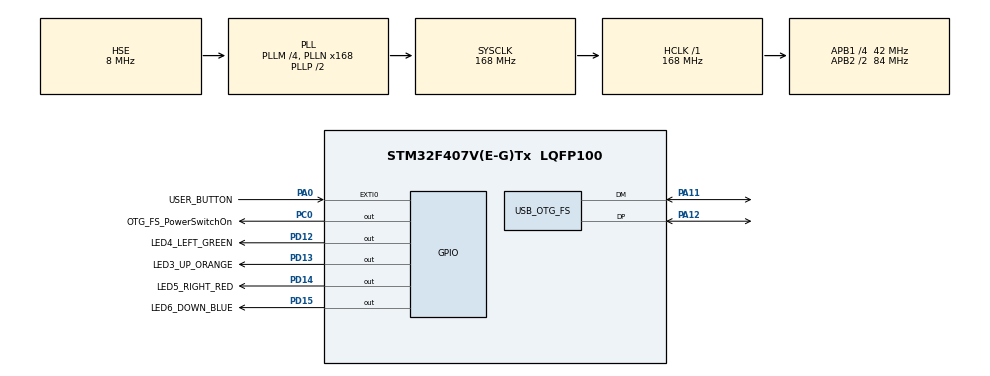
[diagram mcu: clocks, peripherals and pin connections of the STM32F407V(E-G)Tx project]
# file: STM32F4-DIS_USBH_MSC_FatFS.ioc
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Mcu.Family=STM32F4
Mcu.Name=STM32F407V(E-G)Tx
Mcu.Package=LQFP100
NVIC.EXTI0_IRQn=true\:0\:0\:false\:false\:true
NVIC.OTG_FS_IRQn=true\:0\:0\:false\:false\:true
NVIC.PriorityGroup=NVIC_PRIORITYGROUP_4
PA0-WKUP.GPIO_Label=USER_BUTTON
PA0-WKUP.Signal=GPXTI0
PA11.Mode=Host_Only
PA11.Signal=USB_OTG_FS_DM
PA12.Mode=Host_Only
PA12.Signal=USB_OTG_FS_DP
PA13.Mode=Serial_Wire
PA13.Signal=SYS_JTMS-SWDIO
PA14.Mode=Serial_Wire
PA14.Signal=SYS_JTCK-SWCLK
PC0.GPIO_Label=OTG_FS_PowerSwitchOn
PC0.Signal=GPIO_Output
PD12.GPIO_Label=LED4_LEFT_GREEN
PD12.Signal=GPIO_Output
PD13.GPIO_Label=LED3_UP_ORANGE
PD13.Signal=GPIO_Output
PD14.GPIO_Label=LED5_RIGHT_RED
PD14.Signal=GPIO_Output
PD15.GPIO_Label=LED6_DOWN_BLUE
PD15.Signal=GPIO_Output
PH0-OSC_IN.Mode=HSE-External-Oscillator
PH0-OSC_IN.Signal=RCC_OSC_IN
PH1-OSC_OUT.Mode=HSE-External-Oscillator
PH1-OSC_OUT.Signal=RCC_OSC_OUT
ProjectManager.HeapSize=0x400
ProjectManager.StackSize=0x800
ProjectManager.TargetToolchain=EWARM
RCC.48MHZClocksFreq_Value=48000000
RCC.AHBFreq_Value=168000000
RCC.APB1CLKDivider=RCC_HCLK_DIV4
RCC.APB1Freq_Value=42000000
RCC.APB1TimFreq_Value=84000000
RCC.APB2CLKDivider=RCC_HCLK_DIV2
RCC.APB2Freq_Value=84000000
RCC.APB2TimFreq_Value=168000000
RCC.CortexFreq_Value=168000000
RCC.HCLKFreq_Value=168000000
RCC.HSE_VALUE=8000000
RCC.HSI_VALUE=16000000
RCC.LSE_VALUE=32768
RCC.PLLM=4
RCC.PLLN=168
RCC.PLLQ=7
RCC.SYSCLKFreq_VALUE=168000000
RCC.SYSCLKSource=RCC_SYSCLKSOURCE_PLLCLK
RCC.VCOOutputFreq_Value=336000000
USB_HOST.USBH_HandleTypeDef-MSC_FS=hUsbHostFS
USB_HOST.VirtualModeFS=Msc
USB_OTG_FS.VirtualMode=Host_Only
USB_OTG_FS.phy_itface=HCD_PHY_EMBEDDED
VP_FATFS_VS_USB.Mode=USB
VP_USB_HOST_VS_USB_HOST_MSC_FS.Mode=MSC_FS
board=STM32F4-DIS_USBH_MSC_FatFS

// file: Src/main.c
/**
  ******************************************************************************
  * File Name          : main.c
  * Description        : Main program body
  ******************************************************************************
  * This notice applies to any and all portions of this file
  * that are not between comment pairs USER CODE BEGIN and
  * USER CODE END. Other portions of this file, whether
  * inserted by the user or by software development tools
  * are owned by their respective copyright owners.
  *
  * Copyright (c) 2017 STMicroelectronics International N.V.
  * All rights reserved.
  *
  * Redistribution and use in source and binary forms, with or without
  * modification, are permitted, provided that the following conditions are met:
  *
  * 1. Redistribution of source code must retain the above copyright notice,
  *    this list of conditions and the following disclaimer.
  * 2. Redistributions in binary form must reproduce the above copyright notice,
  *    this list of conditions and the following disclaimer in the documentation
  *    and/or other materials provided with the distribution.
  * 3. Neither the name of STMicroelectronics nor the names of other
  *    contributors to this software may be used to endorse or promote products
  *    derived from this software without specific written permission.
  * 4. This software, including modifications and/or derivative works of this
  *    software, must execute solely and exclusively on microcontroller or
  *    microprocessor devices manufactured by or for STMicroelectronics.
  * 5. Redistribution and use of this software other than as permitted under
  *    this license is void and will automatically terminate your rights under
  *    this license.
  *
  * THIS SOFTWARE IS PROVIDED BY STMICROELECTRONICS AND CONTRIBUTORS "AS IS"
  * AND ANY EXPRESS, IMPLIED OR STATUTORY WARRANTIES, INCLUDING, BUT NOT
  * LIMITED TO, THE IMPLIED WARRANTIES OF MERCHANTABILITY, FITNESS FOR A
  * PARTICULAR PURPOSE AND NON-INFRINGEMENT OF THIRD PARTY INTELLECTUAL PROPERTY
  * RIGHTS ARE DISCLAIMED TO THE FULLEST EXTENT PERMITTED BY LAW. IN NO EVENT
  * SHALL STMICROELECTRONICS OR CONTRIBUTORS BE LIABLE FOR ANY DIRECT, INDIRECT,
  * INCIDENTAL, SPECIAL, EXEMPLARY, OR CONSEQUENTIAL DAMAGES (INCLUDING, BUT NOT
  * LIMITED TO, PROCUREMENT OF SUBSTITUTE GOODS OR SERVICES; LOSS OF USE, DATA,
  * OR PROFITS; OR BUSINESS INTERRUPTION) HOWEVER CAUSED AND ON ANY THEORY OF
  * LIABILITY, WHETHER IN CONTRACT, STRICT LIABILITY, OR TORT (INCLUDING
  * NEGLIGENCE OR OTHERWISE) ARISING IN ANY WAY OUT OF THE USE OF THIS SOFTWARE,
  * EVEN IF ADVISED OF THE POSSIBILITY OF SUCH DAMAGE.
  *
  ******************************************************************************
  */
#include "main.h"
#include "stm32f4xx_hal.h"
#include "fatfs.h"
#include "usb_host.h"
#include "gpio.h"

/* USER CODE BEGIN Includes */
//------------------------------------------------------------------------------
/* Projeto    : STM32F4-DIS_USBH_MSC_FatFS
 * MCU        : STM32F407VG (STM32F4-DISCOVERY)
 * Copyright  : Atribuição (CC BY 4.0) Diego Moreno
 * Versão     : 1.0.0
 * Data	      : 30/11/2016
 * Descrição  : Cria um arquivo TXT em um USBDrive conectado na porta USB FS da
 *              placa STM32F4-DISCOVERY.
 */

/* Includes */

//------------------------------------------------------------------------------
/* USER CODE END Includes */

/* USER CODE BEGIN PV */
/* Private variables ---------------------------------------------------------*/

//USB Variables
FATFS USBDISKFatFs;                             //File system object for USB disk logical drive
FIL MyFileUSB;                                  //File object
extern char USBH_Path[4];                       //USBH logical drive path
FRESULT res;                                    //FatFs function common result code
uint32_t byteswritten, bytesread;               //File write/read counts
uint8_t wtext[] = "Congrats, it's working :)";  //File write buffer
uint8_t rtext[100];                             //File read buffer
extern ApplicationTypeDef Appli_state;          //Application state

/* USER CODE END PV */

void SystemClock_Config(void);
void MX_USB_HOST_Process(void);

/* USER CODE BEGIN PFP */
/* Private function prototypes -----------------------------------------------*/
static void MSC_Application(void);
/* USER CODE END PFP */

int main(void)
{

  /* MCU Configuration----------------------------------------------------------*/

  /* Reset of all peripherals, Initializes the Flash interface and the Systick. */
  HAL_Init();

  /* Configure the system clock */
  SystemClock_Config();

  /* Initialize all configured peripherals */
  MX_GPIO_Init();
  MX_FATFS_Init();
  MX_USB_HOST_Init();

  /* USER CODE BEGIN 2 */

  //Unlink USB disk Drivers
  FATFS_UnLinkDriver(USBH_Path);

  /* USER CODE END 2 */

  /* Infinite loop */
  while (1)
  {
    MX_USB_HOST_Process();

  /* USER CODE BEGIN 3 */

    //Mass Storage Application State Machine
    switch(Appli_state)
    {
      case APPLICATION_READY:
        MSC_Application();
        Appli_state = APPLICATION_IDLE;
        break;

      case APPLICATION_IDLE:
      default:
        break;
    }
  }
  /* USER CODE END 3 */

}

/** System Clock Configuration
*/
void SystemClock_Config(void)
{

  RCC_OscInitTypeDef RCC_OscInitStruct;
  RCC_ClkInitTypeDef RCC_ClkInitStruct;

    /**Configure the main internal regulator output voltage
    */
  __HAL_RCC_PWR_CLK_ENABLE();

  __HAL_PWR_VOLTAGESCALING_CONFIG(PWR_REGULATOR_VOLTAGE_SCALE1);

    /**Initializes the CPU, AHB and APB busses clocks
    */
  RCC_OscInitStruct.OscillatorType = RCC_OSCILLATORTYPE_HSE;
  RCC_OscInitStruct.HSEState = RCC_HSE_ON;
  RCC_OscInitStruct.PLL.PLLState = RCC_PLL_ON;
  RCC_OscInitStruct.PLL.PLLSource = RCC_PLLSOURCE_HSE;
  RCC_OscInitStruct.PLL.PLLM = 4;
  RCC_OscInitStruct.PLL.PLLN = 168;
  RCC_OscInitStruct.PLL.PLLP = RCC_PLLP_DIV2;
  RCC_OscInitStruct.PLL.PLLQ = 7;
  if (HAL_RCC_OscConfig(&RCC_OscInitStruct) != HAL_OK)
  {
    _Error_Handler(__FILE__, __LINE__);
  }

    /**Initializes the CPU, AHB and APB busses clocks
    */
  RCC_ClkInitStruct.ClockType = RCC_CLOCKTYPE_HCLK|RCC_CLOCKTYPE_SYSCLK
                              |RCC_CLOCKTYPE_PCLK1|RCC_CLOCKTYPE_PCLK2;
  RCC_ClkInitStruct.SYSCLKSource = RCC_SYSCLKSOURCE_PLLCLK;
  RCC_ClkInitStruct.AHBCLKDivider = RCC_SYSCLK_DIV1;
  RCC_ClkInitStruct.APB1CLKDivider = RCC_HCLK_DIV4;
  RCC_ClkInitStruct.APB2CLKDivider = RCC_HCLK_DIV2;

  if (HAL_RCC_ClockConfig(&RCC_ClkInitStruct, FLASH_LATENCY_5) != HAL_OK)
  {
    _Error_Handler(__FILE__, __LINE__);
  }

    /**Configure the Systick interrupt time
    */
  HAL_SYSTICK_Config(HAL_RCC_GetHCLKFreq()/1000);

    /**Configure the Systick
    */
  HAL_SYSTICK_CLKSourceConfig(SYSTICK_CLKSOURCE_HCLK);

  /* SysTick_IRQn interrupt configuration */
  HAL_NVIC_SetPriority(SysTick_IRQn, 0, 0);
}

/* USER CODE BEGIN 4 */

/**
  * @brief  Main routine for Mass Storage Class
  * @param  None
  * @retval None
  */
static void MSC_Application(void)
{
  //Link USB disk Drivers
  FATFS_LinkDriver(&USBH_Driver, USBH_Path);

  //Register the file system object to the FatFs module
  res = f_mount(&USBDISKFatFs, (TCHAR const*)USBH_Path, 0);
  if(res != FR_OK)
  {
    //FatFs Initialization Error
    Error_Handler();
  }
  else
  {
    //Create and Open a new text file object with write access
    res = f_open(&MyFileUSB, "IT_WORKS.TXT", FA_CREATE_ALWAYS | FA_WRITE);
    if(res != FR_OK)
    {
      //'IT_WORKS.TXT' file Open for write Error
      Error_Handler();
    }
    else
    {
      //Write data to the text file
      res = f_write(&MyFileUSB, wtext, sizeof(wtext), (void *)&byteswritten);

      if((byteswritten == 0) || (res != FR_OK))
      {
        //'IT_WORKS.TXT' file Write or EOF Error
        Error_Handler();
      }
      else
      {
        //Close the open text file
        f_close(&MyFileUSB);

        //Open the text file object with read access
        if(f_open(&MyFileUSB, "IT_WORKS.TXT", FA_READ) != FR_OK)
        {
          //'IT_WORKS.TXT' file Open for read Error
          Error_Handler();
        }
        else
        {
          //Read data from the text file
          res = f_read(&MyFileUSB, rtext, sizeof(rtext), (void *)&bytesread);

          if((bytesread == 0) || (res != FR_OK))
          {
            //'IT_WORKS.TXT' file Read or EOF Error
            Error_Handler();
          }
          else
          {
            //Close the open text file
            f_close(&MyFileUSB);

            //Compare read data with the expected data
            if((bytesread != byteswritten))
            {
              //Read data is different from the expected data
              Error_Handler();
            }
            else
            {
              //Success of the demo: no error occurrence: Turn LED4_LEFT_GREEN ON
              HAL_GPIO_WritePin(GPIOD, LED4_LEFT_GREEN_Pin, GPIO_PIN_SET);
            }
          }
        }
      }
    }
  }

  //Unlink USB disk Drivers
  FATFS_UnLinkDriver(USBH_Path);
}

/* USER CODE END 4 */

void _Error_Handler(char * file, int line)
{
  /* USER CODE BEGIN Error_Handler_Debug */
  /* User can add his own implementation to report the HAL error return state */

  //Turn LED5_RIGHT_RED ON
  HAL_GPIO_WritePin(GPIOD, LED5_RIGHT_RED_Pin, GPIO_PIN_SET);

  while(1)
  {
  }
  /* USER CODE END Error_Handler_Debug */
}

/************************ (C) COPYRIGHT STMicroelectronics *****END OF FILE****/
